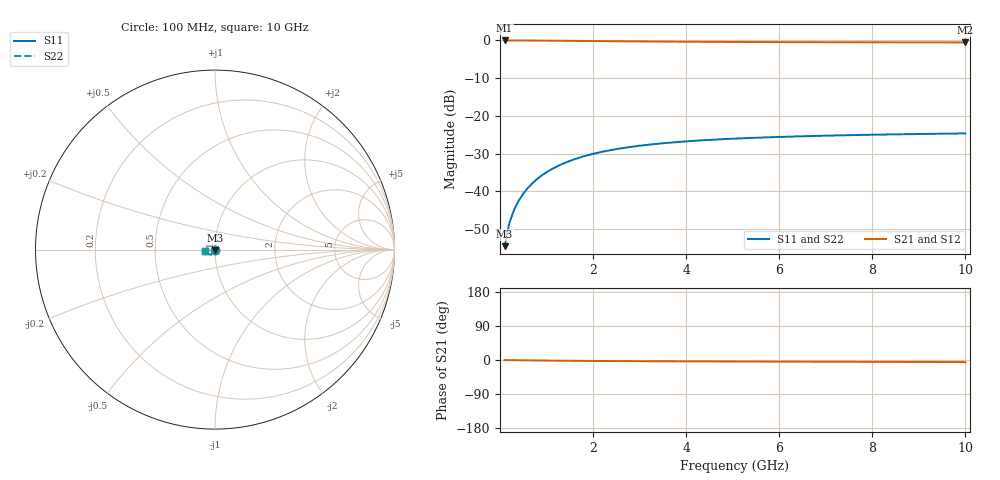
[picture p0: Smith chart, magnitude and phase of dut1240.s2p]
! Touchstone file exported from HFSS 2024.1.0
!  File:  C:/UserFiles/LocalFiles/RDL_TSV_Batchsim/temp_TSV1_1240_1780251314.aedt
!  Generated:  02:20:50 AM Jun  1, 2026
!  Design:  TSV1
!  Project:  temp_TSV1_1240_1780251314
!  Setup:  Setup1
!  Solution:  Sweep
! Variables:
!  dtsv = 14.54um
!  hbump = 3um
!  htsv = 83.55um
!  lrdl = 252.1521522um
!  p = 40
!  p1 = 58.78um
!  t = 500um
!  trdl = 3um
!  wrdl = 24.89489489um
# GHz S MA R 50.000000
! Terminal data exported
! Port[1] = TSV22_T1
! Port[2] = TSV22_T2
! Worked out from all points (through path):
!   100 points, 100 MHz to 10 GHz, reference 50 ohm
!   highest |S21| = 0.00 dB at 100 MHz (marker M1); lowest = -0.5 dB at 10 GHz (marker M2)
!   lowest |S11| = -54.6 dB at 100 MHz (marker M3), VSWR 1.00, Z = 50 - j0.187 ohm
!   |S11| at or under -10 dB: start of sweep to end of sweep
!   |S22| runs from -54.6 to -24.7 dB; largest |S21 - S12| = 1e-14
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0.1  0.001868 -89.5  0.9998 -0.2  0.9998 -0.2  0.001868 -89.5
! Gamma 0 0 0 0
! Port Impedance 50 0 50 0
0.2  0.003734 -92.6  0.9996 -0.3  0.9996 -0.3  0.003734 -92.6
0.3  0.005595 -94.9  0.9993 -0.5  0.9993 -0.5  0.005595 -94.9
0.4  0.007442 -97.1  0.9988 -0.6  0.9988 -0.6  0.007442 -97.1
0.5  0.009266 -99.2  0.9982 -0.8  0.9982 -0.8  0.009266 -99.2
0.6  0.01106 -101.3  0.9976 -0.9  0.9976 -0.9  0.01106 -101.3
0.7  0.01282 -103.3  0.9968 -1.1  0.9968 -1.1  0.01282 -103.3
0.8  0.01454 -105.2  0.9959 -1.2  0.9959 -1.2  0.01454 -105.2
0.9  0.01622 -107.1  0.995 -1.3  0.995 -1.3  0.01622 -107.1
1.1  0.01943 -110.8  0.9929 -1.6  0.9929 -1.6  0.01943 -110.8
1.4  0.02386 -116.0  0.9894 -1.9  0.9894 -1.9  0.02386 -116.0
1.6  0.02655 -119.3  0.987 -2.1  0.987 -2.1  0.02655 -119.3
1.8  0.02903 -122.3  0.9845 -2.3  0.9845 -2.3  0.02903 -122.3
2.1  0.03238 -126.6  0.9808 -2.6  0.9808 -2.6  0.03238 -126.6
2.5  0.03621 -131.7  0.9761 -2.8  0.9761 -2.8  0.03621 -131.7
2.9  0.03941 -136.2  0.9718 -3.1  0.9718 -3.1  0.03941 -136.2
3.4  0.0427 -141.1  0.967 -3.3  0.967 -3.3  0.04271 -141.1
4.2  0.04675 -147.7  0.9607 -3.6  0.9607 -3.6  0.04675 -147.7
5.1  0.05005 -153.8  0.9552 -3.9  0.9552 -3.9  0.05005 -153.8
6.7  0.054 -162.1  0.9485 -4.4  0.9485 -4.4  0.054 -162.1
8.4  0.05669 -169.0  0.9438 -5.0  0.9438 -5.0  0.05669 -169.0
10  0.05848 -174.4  0.9409 -5.5  0.9409 -5.5  0.05848 -174.4
